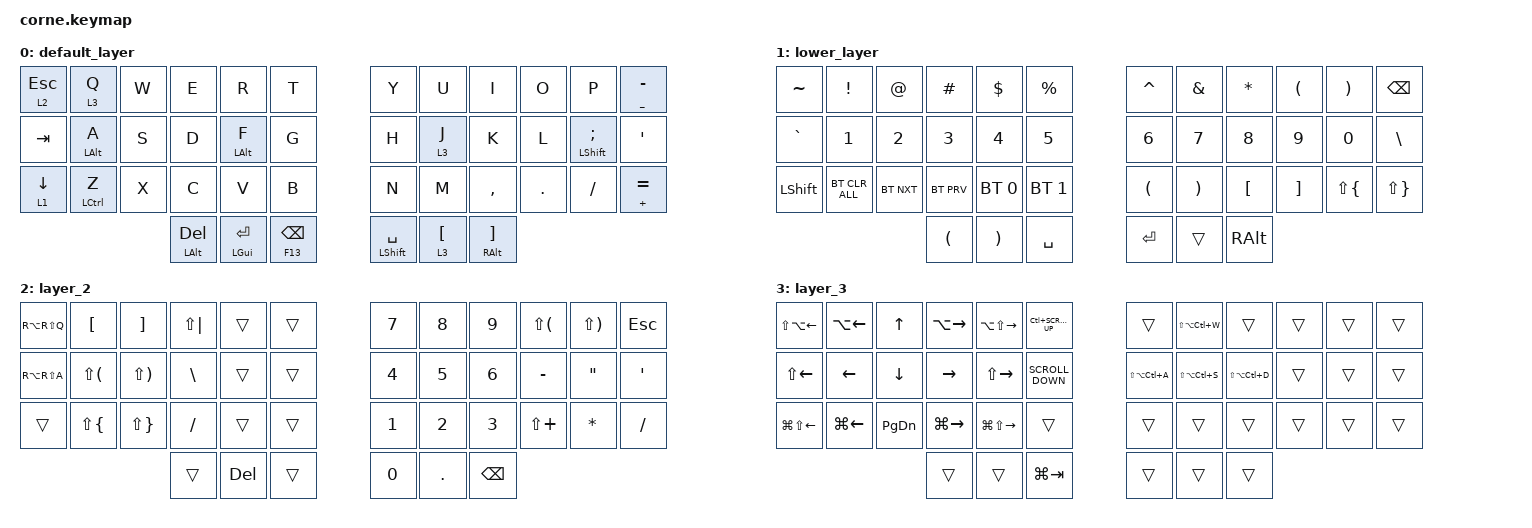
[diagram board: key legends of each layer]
/*
 * Copyright (c) 2020 The ZMK Contributors
 *
 * SPDX-License-Identifier: MIT
 */

#include <behaviors.dtsi>
#include <dt-bindings/zmk/bt.h>
#include <dt-bindings/zmk/keys.h>

/ {
    macros {
        fstring: fstring {
            compatible = "zmk,behavior-macro";
            #binding-cells = <0>;
            bindings = <&none &kp P &kp R &kp I &kp N &kp T &kp LPAR &kp F &kp SQT &kp LEFT_BRACE &kp RBRC &kp SQT &kp RPAR &kp LEFT &kp LEFT_ARROW &kp LEFT_ARROW &kp LEFT_ARROW>;
            label = "FSTRING";
        };
    };

    behaviors {
        tapprefer: tapprefer {
            compatible = "zmk,behavior-hold-tap";
            label = "TAPPREFER";
            bindings = <&none>, <&none>;

            #binding-cells = <2>;
            flavor = "tap-preferred";
            tapping-term-ms = <250>;
            quick-tap-ms = <175>;
        };
    };

    keymap {
        compatible = "zmk,keymap";

        default_layer {
            // -----------------------------------------------------------------------------------------
            // |  TAB |  Q  |  W  |  E  |  R  |  T  |   |  Y  |  U   |  I  |  O  |  P  | BKSP |
            // | CTRL |  A  |  S  |  D  |  F  |  G  |   |  H  |  J   |  K  |  L  |  ;  |  '   |
            // | SHFT |  Z  |  X  |  C  |  V  |  B  |   |  N  |  M   |  ,  |  .  |  /  | ESC  |
            //                    | GUI | LWR | SPC |   | ENT | RSE  | ALT |

            bindings = <
&lt 2 ESCAPE      &lt 3 Q             &kp W  &kp E             &kp R               &kp T                &kp Y                 &kp U       &kp I               &kp O    &kp P                &mt UNDERSCORE MINUS
&kp TAB           &mt LEFT_ALT A      &kp S  &kp D             &mt LEFT_ALT F      &kp G                &kp H                 &lt 3 J     &kp K               &kp L    &mt LEFT_SHIFT SEMI  &kp SQT
&lt 1 DOWN_ARROW  &mt LEFT_CONTROL Z  &kp X  &kp C             &kp V               &kp B                &kp N                 &kp M       &kp COMMA           &kp DOT  &kp FSLH             &mt PLUS EQUAL
                                             &mt LEFT_ALT DEL  &mt LEFT_GUI ENTER  &mt F13 BACKSPACE    &mt LEFT_SHIFT SPACE  &lt 3 LBKT  &mt RIGHT_ALT RBKT
            >;
        };

        lower_layer {
            // -----------------------------------------------------------------------------------------
            // |  TAB |  1  |  2  |  3  |  4  |  5  |   |  6  |  7  |  8  |  9  |  0  | BKSP |
            // | BTCLR| BT1 | BT2 | BT3 | BT4 | BT5 |   | LFT | DWN |  UP | RGT |     |      |
            // | SHFT |     |     |     |     |     |   |     |     |     |     |     |      |
            //                    | GUI |     | SPC |   | ENT |     | ALT |

            bindings = <
&kp TILDE  &kp EXCLAMATION  &kp AT_SIGN   &kp HASH              &kp DOLLAR             &kp PERCENT     &kp CARET             &kp AMPERSAND          &kp ASTERISK  &kp LEFT_PARENTHESIS  &kp RIGHT_PARENTHESIS  &kp BSPC
&kp GRAVE  &kp NUMBER_1     &kp NUMBER_2  &kp NUMBER_3          &kp NUMBER_4           &kp NUMBER_5    &kp NUMBER_6          &kp NUMBER_7           &kp NUMBER_8  &kp NUMBER_9          &kp NUMBER_0           &kp BACKSLASH
&kp LSHFT  &bt BT_CLR_ALL   &bt BT_NXT    &bt BT_PRV            &bt BT_SEL 0           &bt BT_SEL 1    &kp LEFT_PARENTHESIS  &kp RIGHT_PARENTHESIS  &kp LBKT      &kp RBKT              &kp LS(LBRC)           &kp LS(RBRC)
                                          &kp LEFT_PARENTHESIS  &kp RIGHT_PARENTHESIS  &kp SPACE       &kp RET               &trans                 &kp RALT
            >;
        };

        layer_2 {
            bindings = <
&kp RA(RS(Q))  &kp LBKT      &kp RBKT      &kp LS(PIPE)  &trans      &trans    &kp N7  &kp N8   &kp N9    &kp LS(LPAR)  &kp LS(RPAR)       &kp ESC
&kp RA(RS(A))  &kp LS(LPAR)  &kp LS(RPAR)  &kp BSLH      &trans      &trans    &kp N4  &kp N5   &kp N6    &kp MINUS     &kp DOUBLE_QUOTES  &kp SINGLE_QUOTE
&trans         &kp LS(LBRC)  &kp LS(RBRC)  &kp FSLH      &trans      &trans    &kp N1  &kp N2   &kp N3    &kp LS(PLUS)  &kp ASTERISK       &kp FSLH
                                           &trans        &kp DELETE  &trans    &kp N0  &kp DOT  &kp BSPC
            >;
        };

        layer_3 {
            bindings = <
&kp LS(LA(LEFT))  &kp LA(LEFT)        &kp UP_ARROW   &kp LA(RIGHT)  &kp LA(LS(RIGHT))  &kp LC(K_SCROLL_UP)    &trans             &kp LS(LA(LC(W)))  &trans             &trans  &trans  &trans
&kp LS(LEFT)      &kp LEFT            &kp DOWN       &kp RIGHT      &kp LS(RIGHT)      &kp K_SCROLL_DOWN      &kp LS(LA(LC(A)))  &kp LS(LA(LC(S)))  &kp LS(LA(LC(D)))  &trans  &trans  &trans
&kp LG(LS(LEFT))  &kp LG(LEFT_ARROW)  &kp PAGE_DOWN  &kp LG(RIGHT)  &kp LG(LS(RIGHT))  &trans                 &trans             &trans             &trans             &trans  &trans  &trans
                                                     &trans         &trans             &kp LG(TAB)            &trans             &trans             &trans
            >;
        };
    };
};
